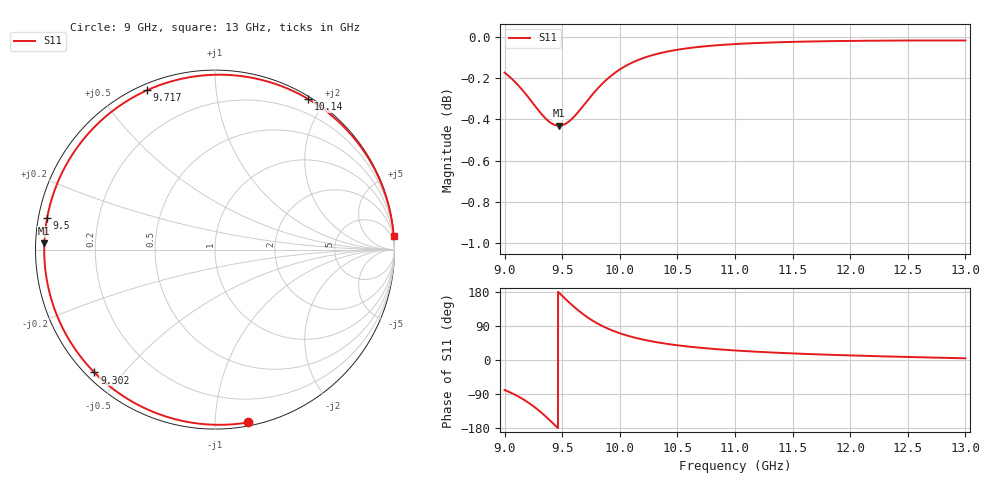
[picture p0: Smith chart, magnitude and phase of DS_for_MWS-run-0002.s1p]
! TOUCHSTONE file generated by CST DESIGN STUDIO
! Date and time: Tue Feb  4 13:59:10 2025
! Project name: C:\Work\MatlabApps\UnitCellOptimizationMatlab\CST\unitcell.cst
! Tree item: Tasks\Sweep1\SPara1\S-Parameters
! Header version: 2024
! Port assignment regex: !\s*Touchstone port\s*([0-9]+)\s*=\s*(CST MWS port|CST DES external port|CST DES block port)\s*(.+)\s* \(\"(.*)\"\)(\s*mode\s*([0-9]+))?.*
! Touchstone port assignment:
! Touchstone port 1 = CST DES external port 1 ("")
# GHz S MA R 50
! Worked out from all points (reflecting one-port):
!   4001 points, 9 GHz to 13 GHz, reference 50 ohm
!   lowest |S11| = -0.4 dB at 9.471 GHz (marker M1), VSWR 40.39, Z = 1.24 + j0.94 ohm
!   phase of S11 starts at -79 deg and turns -276 deg over the sweep
!   S11 on the Smith chart (normalised r, x): 9 GHz: 0.02, -1.21; 9.302 GHz: 0.02, -0.42; 9.5 GHz: 0.02, +0.09; 9.717 GHz: 0.03, +0.66; 10.14 GHz: 0.03, +1.79; 13 GHz: 1, +25
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9  0.9804 -79.2
9.074  0.9763 -89.2
9.125  0.973 -97.3
9.171  0.9696 -105.5
9.239  0.9643 -119.5
9.302  0.9593 -134.5
9.346  0.9561 -146.0
9.393  0.9535 -159.2
9.433  0.9521 -170.9
9.471  0.9517 177.8
9.5  0.9519 169.3
9.552  0.9536 154.2
9.612  0.9571 137.9
9.664  0.9609 125.0
9.717  0.965 113.2
9.773  0.9692 102.2
9.836  0.9736 91.5
9.916  0.9782 80.2
10  0.9821 70.6
10.138  0.9868 58.4
10.301  0.9903 47.9
10.5  0.993 38.9
10.722  0.9948 31.6
11  0.9962 25.2
11.5  0.9974 17.4
12  0.9979 12.1
12.5  0.9982 8.0
13  0.9982 4.5
